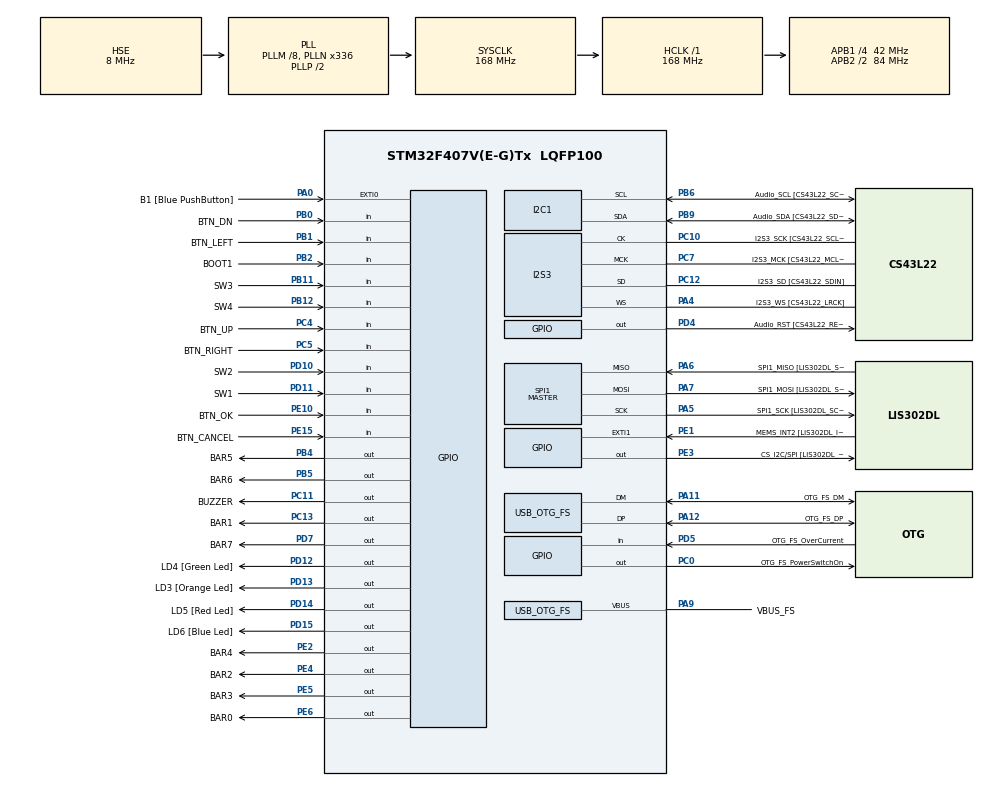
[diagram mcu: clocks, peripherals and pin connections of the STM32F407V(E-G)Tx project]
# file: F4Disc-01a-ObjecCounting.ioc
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I2S3.AudioFreq-Half_Duplex_Master=I2S_AUDIOFREQ_96K
I2S3.ErrorAudioFreq=-2.34 %
I2S3.ErrorAudioFreq-Half_Duplex_Master=0.8 %
I2S3.FullDuplexMode=I2S_FULLDUPLEXMODE_DISABLE
I2S3.Instance=SPI$Index
I2S3.RealAudioFreq=93.75 KHz
I2S3.RealAudioFreq-Half_Duplex_Master=96.774 KHz
I2S3.VirtualMode=I2S_MODE_MASTER
Mcu.Family=STM32F4
Mcu.Name=STM32F407V(E-G)Tx
Mcu.Package=LQFP100
NVIC.OTG_FS_IRQn=true\:0\:0\:false\:false\:true\:true\:true\:true
NVIC.PriorityGroup=NVIC_PRIORITYGROUP_0
PA0-WKUP.GPIO_Label=B1 [Blue PushButton]
PA0-WKUP.GPIO_ModeDefaultEXTI=GPIO_MODE_EVT_RISING
PA0-WKUP.GPIO_PuPd=GPIO_NOPULL
PA0-WKUP.Signal=GPXTI0
PA10.GPIO_Label=OTG_FS_ID
PA10.GPIO_Mode=GPIO_MODE_AF_PP
PA10.GPIO_PuPd=GPIO_NOPULL
PA10.GPIO_Speed=GPIO_SPEED_FREQ_LOW
PA10.Signal=USB_OTG_FS_ID
PA11.GPIO_Label=OTG_FS_DM
PA11.GPIO_Mode=GPIO_MODE_AF_PP
PA11.GPIO_PuPd=GPIO_NOPULL
PA11.GPIO_Speed=GPIO_SPEED_FREQ_LOW
PA11.Mode=Device_Only
PA11.Signal=USB_OTG_FS_DM
PA12.GPIO_Label=OTG_FS_DP
PA12.GPIO_Mode=GPIO_MODE_AF_PP
PA12.GPIO_PuPd=GPIO_NOPULL
PA12.GPIO_Speed=GPIO_SPEED_FREQ_LOW
PA12.Mode=Device_Only
PA12.Signal=USB_OTG_FS_DP
PA13.GPIO_Label=SWDIO
PA13.Mode=Serial_Wire
PA13.Signal=SYS_JTMS-SWDIO
PA14.GPIO_Label=SWCLK
PA14.Mode=Serial_Wire
PA14.Signal=SYS_JTCK-SWCLK
PA4.GPIO_Label=I2S3_WS [CS43L22_LRCK]
PA4.GPIO_Mode=GPIO_MODE_AF_PP
PA4.GPIO_PuPd=GPIO_NOPULL
PA4.GPIO_Speed=GPIO_SPEED_FREQ_LOW
PA4.Mode=Half_Duplex_Master
PA4.Signal=I2S3_WS
PA5.GPIO_Label=SPI1_SCK [LIS302DL_SCL/SPC]
PA5.GPIO_Mode=GPIO_MODE_AF_PP
PA5.GPIO_PuPd=GPIO_NOPULL
PA5.GPIO_Speed=GPIO_SPEED_FREQ_LOW
PA5.Mode=Full_Duplex_Master
PA5.Signal=SPI1_SCK
PA6.GPIO_Label=SPI1_MISO [LIS302DL_SDO]
PA6.GPIO_Mode=GPIO_MODE_AF_PP
PA6.GPIO_PuPd=GPIO_NOPULL
PA6.GPIO_Speed=GPIO_SPEED_FREQ_LOW
PA6.Mode=Full_Duplex_Master
PA6.Signal=SPI1_MISO
PA7.GPIO_Label=SPI1_MOSI [LIS302DL_SDA/SDI/SDO]
PA7.GPIO_Mode=GPIO_MODE_AF_PP
PA7.GPIO_PuPd=GPIO_NOPULL
PA7.GPIO_Speed=GPIO_SPEED_FREQ_LOW
PA7.Mode=Full_Duplex_Master
PA7.Signal=SPI1_MOSI
PA9.GPIO_Label=VBUS_FS
PA9.GPIO_Mode=GPIO_MODE_INPUT
PA9.GPIO_PuPd=GPIO_NOPULL
PA9.Mode=Activate_VBUS
PA9.Signal=USB_OTG_FS_VBUS
PB0.GPIO_Label=BTN_DN
PB0.GPIO_PuPd=GPIO_PULLUP
PB0.Signal=GPIO_Input
PB1.GPIO_Label=BTN_LEFT
PB1.GPIO_PuPd=GPIO_PULLUP
PB1.Signal=GPIO_Input
PB10.GPIO_Label=CLK_IN [MP45DT02_CLK]
PB10.GPIO_Mode=GPIO_MODE_AF_PP
PB10.GPIO_PuPd=GPIO_NOPULL
PB10.GPIO_Speed=GPIO_SPEED_FREQ_LOW
PB10.Signal=I2S2_CK
PB11.GPIO_Label=SW3
PB11.GPIO_PuPd=GPIO_PULLUP
PB11.Signal=GPIO_Input
PB12.GPIO_Label=SW4
PB12.GPIO_PuPd=GPIO_PULLUP
PB12.Signal=GPIO_Input
PB2.GPIO_Label=BOOT1
PB2.GPIO_Mode=GPIO_MODE_INPUT
PB2.GPIO_PuPd=GPIO_NOPULL
PB2.Signal=GPIO_Input
PB3.GPIO_Label=SWO
PB3.Signal=SYS_JTDO-SWO
PB4.GPIO_Label=BAR5
PB4.Signal=GPIO_Output
PB5.GPIO_Label=BAR6
PB5.Signal=GPIO_Output
PB6.GPIO_Label=Audio_SCL [CS43L22_SCL]
PB6.GPIO_Mode=GPIO_MODE_AF_OD
PB6.GPIO_Pu=GPIO_PULLUP
PB6.GPIO_PuPd=GPIO_NOPULL
PB6.GPIO_Speed=GPIO_SPEED_FREQ_LOW
PB6.Mode=I2C
PB6.Signal=I2C1_SCL
PB9.GPIO_Label=Audio_SDA [CS43L22_SDA]
PB9.GPIO_Mode=GPIO_MODE_AF_OD
PB9.GPIO_Pu=GPIO_PULLUP
PB9.GPIO_PuPd=GPIO_NOPULL
PB9.GPIO_Speed=GPIO_SPEED_FREQ_LOW
PB9.Mode=I2C
PB9.Signal=I2C1_SDA
PC0.GPIO_Label=OTG_FS_PowerSwitchOn
PC0.GPIO_PuPd=GPIO_NOPULL
PC0.GPIO_Speed=GPIO_SPEED_FREQ_LOW
PC0.PinState=GPIO_PIN_SET
PC0.Signal=GPIO_Output
PC10.GPIO_Label=I2S3_SCK [CS43L22_SCLK]
PC10.GPIO_Mode=GPIO_MODE_AF_PP
PC10.GPIO_PuPd=GPIO_NOPULL
PC10.GPIO_Speed=GPIO_SPEED_FREQ_LOW
PC10.Mode=Half_Duplex_Master
PC10.Signal=I2S3_CK
PC11.GPIO_Label=BUZZER
PC11.Signal=GPIO_Output
PC12.GPIO_Label=I2S3_SD [CS43L22_SDIN]
PC12.GPIO_Mode=GPIO_MODE_AF_PP
PC12.GPIO_PuPd=GPIO_NOPULL
PC12.GPIO_Speed=GPIO_SPEED_FREQ_LOW
PC12.Mode=Half_Duplex_Master
PC12.Signal=I2S3_SD
PC13-ANTI_TAMP.GPIO_Label=BAR1
PC13-ANTI_TAMP.Signal=GPIO_Output
PC14-OSC32_IN.GPIO_Label=PC14-OSC32_IN
PC14-OSC32_IN.Mode=LSE-External-Oscillator
PC14-OSC32_IN.Signal=RCC_OSC32_IN
PC15-OSC32_OUT.GPIO_Label=PC15-OSC32_OUT
PC15-OSC32_OUT.Mode=LSE-External-Oscillator
PC15-OSC32_OUT.Signal=RCC_OSC32_OUT
PC3.GPIO_Label=PDM_OUT [MP45DT02_DOUT]
PC3.GPIO_Mode=GPIO_MODE_AF_PP
PC3.GPIO_PuPd=GPIO_NOPULL
PC3.GPIO_Speed=GPIO_SPEED_FREQ_LOW
PC3.Signal=I2S2_SD
PC4.GPIO_Label=BTN_UP
PC4.GPIO_PuPd=GPIO_PULLUP
PC4.Signal=GPIO_Input
PC5.GPIO_Label=BTN_RIGHT
PC5.GPIO_PuPd=GPIO_PULLUP
PC5.Signal=GPIO_Input
PC7.GPIO_Label=I2S3_MCK [CS43L22_MCLK]
PC7.GPIO_Mode=GPIO_MODE_AF_PP
PC7.GPIO_PuPd=GPIO_NOPULL
PC7.GPIO_Speed=GPIO_SPEED_FREQ_LOW
PC7.Mode=Master_Clock_Activated
PC7.Signal=I2S3_MCK
PD10.GPIO_Label=SW2
PD10.GPIO_PuPd=GPIO_PULLUP
PD10.Signal=GPIO_Input
PD11.GPIO_Label=SW1
PD11.GPIO_PuPd=GPIO_PULLUP
PD11.Signal=GPIO_Input
PD12.GPIO_Label=LD4 [Green Led]
PD12.GPIO_PuPd=GPIO_NOPULL
PD12.GPIO_Speed=GPIO_SPEED_FREQ_LOW
PD12.Signal=GPIO_Output
PD13.GPIO_Label=LD3 [Orange Led]
PD13.GPIO_PuPd=GPIO_NOPULL
PD13.GPIO_Speed=GPIO_SPEED_FREQ_LOW
PD13.Signal=GPIO_Output
PD14.GPIO_Label=LD5 [Red Led]
PD14.GPIO_PuPd=GPIO_NOPULL
PD14.GPIO_Speed=GPIO_SPEED_FREQ_LOW
PD14.Signal=GPIO_Output
PD15.GPIO_Label=LD6 [Blue Led]
PD15.GPIO_PuPd=GPIO_NOPULL
PD15.GPIO_Speed=GPIO_SPEED_FREQ_LOW
PD15.Signal=GPIO_Output
PD4.GPIO_Label=Audio_RST [CS43L22_RESET]
PD4.GPIO_PuPd=GPIO_NOPULL
PD4.GPIO_Speed=GPIO_SPEED_FREQ_LOW
PD4.Signal=GPIO_Output
PD5.GPIO_Label=OTG_FS_OverCurrent
PD5.GPIO_Mode=GPIO_MODE_INPUT
PD5.GPIO_PuPd=GPIO_NOPULL
PD5.Signal=GPIO_Input
PD7.GPIO_Label=BAR7
PD7.Signal=GPIO_Output
PE1.GPIO_Label=MEMS_INT2 [LIS302DL_INT2]
PE1.GPIO_ModeDefaultEXTI=GPIO_MODE_EVT_RISING
PE1.GPIO_PuPd=GPIO_NOPULL
PE1.Signal=GPXTI1
PE10.GPIO_Label=BTN_OK
PE10.GPIO_PuPd=GPIO_PULLUP
PE10.Signal=GPIO_Input
PE15.GPIO_Label=BTN_CANCEL
PE15.GPIO_PuPd=GPIO_PULLUP
PE15.Signal=GPIO_Input
PE2.GPIO_Label=BAR4
PE2.Signal=GPIO_Output
PE3.GPIO_Label=CS_I2C/SPI [LIS302DL_CS_I2C/SPI]
PE3.GPIO_PuPd=GPIO_NOPULL
PE3.GPIO_Speed=GPIO_SPEED_FREQ_LOW
PE3.Signal=GPIO_Output
PE4.GPIO_Label=BAR2
PE4.Signal=GPIO_Output
PE5.GPIO_Label=BAR3
PE5.Signal=GPIO_Output
PE6.GPIO_Label=BAR0
PE6.Signal=GPIO_Output
PH0-OSC_IN.GPIO_Label=PH0-OSC_IN
PH0-OSC_IN.Mode=HSE-External-Oscillator
PH0-OSC_IN.Signal=RCC_OSC_IN
PH1-OSC_OUT.GPIO_Label=PH1-OSC_OUT
PH1-OSC_OUT.Mode=HSE-External-Oscillator
PH1-OSC_OUT.Signal=RCC_OSC_OUT
ProjectManager.HeapSize=0x200
ProjectManager.StackSize=0x400
ProjectManager.TargetToolchain=STM32CubeIDE
RCC.48MHZClocksFreq_Value=48000000
RCC.AHBFreq_Value=168000000
RCC.APB1CLKDivider=RCC_HCLK_DIV4
RCC.APB1Freq_Value=42000000
RCC.APB1TimFreq_Value=84000000
RCC.APB2CLKDivider=RCC_HCLK_DIV2
RCC.APB2Freq_Value=84000000
RCC.APB2TimFreq_Value=168000000
RCC.CortexFreq_Value=168000000
RCC.HCLKFreq_Value=168000000
RCC.HSE_VALUE=8000000
RCC.HSI_VALUE=16000000
RCC.PLLM=8
RCC.PLLN=336
RCC.PLLQ=7
RCC.SYSCLKFreq_VALUE=168000000
RCC.SYSCLKSource=RCC_SYSCLKSOURCE_PLLCLK
RCC.VCOOutputFreq_Value=336000000
SPI1.BaudRatePrescaler-Full_Duplex_Master=SPI_BAUDRATEPRESCALER_2
SPI1.CalculateBaudRate-Full_Duplex_Master=42.0 MBits/s
SPI1.Direction=SPI_DIRECTION_2LINES
SPI1.Mode=SPI_MODE_MASTER
SPI1.Mode-Full_Duplex_Master=SPI_MODE_MASTER
SPI1.VirtualType=VM_MASTER
USB_DEVICE.CLASS_NAME_FS=CDC
USB_DEVICE.VirtualMode-CDC_FS=Cdc
USB_DEVICE.VirtualModeFS=Cdc_FS
USB_OTG_FS.VirtualMode=Device_Only
VP_USB_DEVICE_VS_USB_DEVICE_CDC_FS.Mode=CDC_FS
board=STM32F407G-DISC1

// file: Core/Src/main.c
/* USER CODE BEGIN Header */
/**
 ******************************************************************************
 * @file           : main.c
 * @brief          : Main program body
 ******************************************************************************
 * @attention
 *
 * Copyright (c) 2023 STMicroelectronics.
 * All rights reserved.
 *
 * This software is licensed under terms that can be found in the LICENSE file
 * in the root directory of this software component.
 * If no LICENSE file comes with this software, it is provided AS-IS.
 *
 ******************************************************************************
 */
/* USER CODE END Header */
#include "main.h"
#include "usb_device.h"

/* USER CODE BEGIN Includes */
#include <stdio.h>
/* USER CODE END Includes */

I2C_HandleTypeDef hi2c1;

I2S_HandleTypeDef hi2s3;

SPI_HandleTypeDef hspi1;

/* USER CODE BEGIN PV */
uint32_t db_ms=20;
uint16_t count=0;
extern USBD_HandleTypeDef hUsbDeviceFS;  // deklarasi handle dari usb_device.c
static inline uint8_t usb_is_configured(void){
	return (hUsbDeviceFS.dev_state == USBD_STATE_CONFIGURED);
}
/* USER CODE END PV */

void SystemClock_Config(void);
static void MX_GPIO_Init(void);
static void MX_I2C1_Init(void);
static void MX_I2S3_Init(void);
static void MX_SPI1_Init(void);
/* USER CODE BEGIN PFP */
extern uint8_t CDC_Transmit_FS(uint8_t* Buf, uint16_t Len);

int _write(int file, char *ptr, int len) {
	CDC_Transmit_FS((uint8_t*) ptr, len); return len;
}

void checkBoard(void);
/* USER CODE END PFP */

/* USER CODE BEGIN 0 */
void checkBoard(void) {
	printf("Cek BarLED, buzzer, USER LED \n\r");
	HAL_Delay(300);
	for (uint8_t cnt=0;cnt<8;cnt++){

		HAL_GPIO_TogglePin(BAR0_GPIO_Port, BAR0_Pin);
		HAL_GPIO_TogglePin(BAR1_GPIO_Port, BAR1_Pin);
		HAL_GPIO_TogglePin(BAR2_GPIO_Port, BAR2_Pin);
		HAL_GPIO_TogglePin(BAR3_GPIO_Port, BAR3_Pin);
		HAL_GPIO_TogglePin(BAR4_GPIO_Port, BAR4_Pin);
		HAL_GPIO_TogglePin(BAR5_GPIO_Port, BAR5_Pin);
		HAL_GPIO_TogglePin(BAR6_GPIO_Port, BAR6_Pin);
		HAL_GPIO_TogglePin(BAR7_GPIO_Port, BAR7_Pin);

		HAL_GPIO_TogglePin(BUZZER_GPIO_Port, BUZZER_Pin);
		HAL_GPIO_TogglePin(LD3_GPIO_Port, LD3_Pin);
		HAL_GPIO_TogglePin(LD4_GPIO_Port, LD4_Pin);
		HAL_GPIO_TogglePin(LD5_GPIO_Port, LD5_Pin);
		HAL_GPIO_TogglePin(LD6_GPIO_Port, LD6_Pin);
		printf("count: %d \n\r",cnt);
		HAL_Delay(100);
	}

}
/* USER CODE END 0 */

int main(void)
{

	/* MCU Configuration--------------------------------------------------------*/

	/* Reset of all peripherals, Initializes the Flash interface and the Systick. */
	HAL_Init();

	/* Configure the system clock */
	SystemClock_Config();

	/* Initialize all configured peripherals */
	MX_GPIO_Init();
	MX_I2C1_Init();
	MX_I2S3_Init();
	MX_SPI1_Init();
	MX_USB_DEVICE_Init();
	/* USER CODE BEGIN 2 */
	uint32_t t0 = HAL_GetTick();
	while (!usb_is_configured() && (HAL_GetTick() - t0) < 2000) {
		HAL_Delay(10);
	}
	HAL_Delay(700); //fix auto connect serial app
	checkBoard();
	/* USER CODE END 2 */

	/* Infinite loop */
	while (1)
	{

		/* USER CODE BEGIN 3 */
		uint32_t db_ms=20;
        // check if object detected
		if(HAL_GPIO_ReadPin(BTN_LEFT_GPIO_Port,BTN_LEFT_Pin)== GPIO_PIN_RESET) {
			HAL_Delay(db_ms);
			if(HAL_GPIO_ReadPin(BTN_LEFT_GPIO_Port,BTN_LEFT_Pin)== GPIO_PIN_RESET) {
				while(HAL_GPIO_ReadPin(BTN_LEFT_GPIO_Port,BTN_LEFT_Pin)== GPIO_PIN_RESET);
				// tunggu release stabil
				HAL_Delay(db_ms);
				if(HAL_GPIO_ReadPin(BTN_LEFT_GPIO_Port,BTN_LEFT_Pin)== GPIO_PIN_SET) {
					count++; // valid press
					printf("nilai counter: %d \n\r",count);
				}
			}
		}
		//counter show
		HAL_GPIO_WritePin(BAR0_GPIO_Port,BAR0_Pin,count & (1<<0));
		HAL_GPIO_WritePin(BAR1_GPIO_Port,BAR1_Pin,count & (1<<1));
		HAL_GPIO_WritePin(BAR2_GPIO_Port,BAR2_Pin,count & (1<<2));
		HAL_GPIO_WritePin(BAR3_GPIO_Port,BAR3_Pin,count & (1<<3));
		HAL_GPIO_WritePin(BAR4_GPIO_Port,BAR4_Pin,count & (1<<4));
		HAL_GPIO_WritePin(BAR5_GPIO_Port,BAR5_Pin,count & (1<<5));
		HAL_GPIO_WritePin(BAR6_GPIO_Port,BAR6_Pin,count & (1<<6));
		HAL_GPIO_WritePin(BAR7_GPIO_Port,BAR7_Pin,count & (1<<7));
	}
	/* USER CODE END 3 */
}

void SystemClock_Config(void)
{
	RCC_OscInitTypeDef RCC_OscInitStruct = {0};
	RCC_ClkInitTypeDef RCC_ClkInitStruct = {0};

	/** Configure the main internal regulator output voltage
	 */
	__HAL_RCC_PWR_CLK_ENABLE();
	__HAL_PWR_VOLTAGESCALING_CONFIG(PWR_REGULATOR_VOLTAGE_SCALE1);

	/** Initializes the RCC Oscillators according to the specified parameters
	 * in the RCC_OscInitTypeDef structure.
	 */
	RCC_OscInitStruct.OscillatorType = RCC_OSCILLATORTYPE_HSE;
	RCC_OscInitStruct.HSEState = RCC_HSE_ON;
	RCC_OscInitStruct.PLL.PLLState = RCC_PLL_ON;
	RCC_OscInitStruct.PLL.PLLSource = RCC_PLLSOURCE_HSE;
	RCC_OscInitStruct.PLL.PLLM = 8;
	RCC_OscInitStruct.PLL.PLLN = 336;
	RCC_OscInitStruct.PLL.PLLP = RCC_PLLP_DIV2;
	RCC_OscInitStruct.PLL.PLLQ = 7;
	if (HAL_RCC_OscConfig(&RCC_OscInitStruct) != HAL_OK)
	{
		Error_Handler();
	}

	/** Initializes the CPU, AHB and APB buses clocks
	 */
	RCC_ClkInitStruct.ClockType = RCC_CLOCKTYPE_HCLK|RCC_CLOCKTYPE_SYSCLK
			|RCC_CLOCKTYPE_PCLK1|RCC_CLOCKTYPE_PCLK2;
	RCC_ClkInitStruct.SYSCLKSource = RCC_SYSCLKSOURCE_PLLCLK;
	RCC_ClkInitStruct.AHBCLKDivider = RCC_SYSCLK_DIV1;
	RCC_ClkInitStruct.APB1CLKDivider = RCC_HCLK_DIV4;
	RCC_ClkInitStruct.APB2CLKDivider = RCC_HCLK_DIV2;

	if (HAL_RCC_ClockConfig(&RCC_ClkInitStruct, FLASH_LATENCY_5) != HAL_OK)
	{
		Error_Handler();
	}
}

static void MX_I2C1_Init(void)
{

	hi2c1.Instance = I2C1;
	hi2c1.Init.ClockSpeed = 100000;
	hi2c1.Init.DutyCycle = I2C_DUTYCYCLE_2;
	hi2c1.Init.OwnAddress1 = 0;
	hi2c1.Init.AddressingMode = I2C_ADDRESSINGMODE_7BIT;
	hi2c1.Init.DualAddressMode = I2C_DUALADDRESS_DISABLE;
	hi2c1.Init.OwnAddress2 = 0;
	hi2c1.Init.GeneralCallMode = I2C_GENERALCALL_DISABLE;
	hi2c1.Init.NoStretchMode = I2C_NOSTRETCH_DISABLE;
	if (HAL_I2C_Init(&hi2c1) != HAL_OK)
	{
		Error_Handler();
	}

}

static void MX_I2S3_Init(void)
{

	hi2s3.Instance = SPI3;
	hi2s3.Init.Mode = I2S_MODE_MASTER_TX;
	hi2s3.Init.Standard = I2S_STANDARD_PHILIPS;
	hi2s3.Init.DataFormat = I2S_DATAFORMAT_16B;
	hi2s3.Init.MCLKOutput = I2S_MCLKOUTPUT_ENABLE;
	hi2s3.Init.AudioFreq = I2S_AUDIOFREQ_96K;
	hi2s3.Init.CPOL = I2S_CPOL_LOW;
	hi2s3.Init.ClockSource = I2S_CLOCK_PLL;
	hi2s3.Init.FullDuplexMode = I2S_FULLDUPLEXMODE_DISABLE;
	if (HAL_I2S_Init(&hi2s3) != HAL_OK)
	{
		Error_Handler();
	}

}

static void MX_SPI1_Init(void)
{

	/* SPI1 parameter configuration*/
	hspi1.Instance = SPI1;
	hspi1.Init.Mode = SPI_MODE_MASTER;
	hspi1.Init.Direction = SPI_DIRECTION_2LINES;
	hspi1.Init.DataSize = SPI_DATASIZE_8BIT;
	hspi1.Init.CLKPolarity = SPI_POLARITY_LOW;
	hspi1.Init.CLKPhase = SPI_PHASE_1EDGE;
	hspi1.Init.NSS = SPI_NSS_SOFT;
	hspi1.Init.BaudRatePrescaler = SPI_BAUDRATEPRESCALER_2;
	hspi1.Init.FirstBit = SPI_FIRSTBIT_MSB;
	hspi1.Init.TIMode = SPI_TIMODE_DISABLE;
	hspi1.Init.CRCCalculation = SPI_CRCCALCULATION_DISABLE;
	hspi1.Init.CRCPolynomial = 10;
	if (HAL_SPI_Init(&hspi1) != HAL_OK)
	{
		Error_Handler();
	}

}

static void MX_GPIO_Init(void)
{
	GPIO_InitTypeDef GPIO_InitStruct = {0};

	/* GPIO Ports Clock Enable */
	__HAL_RCC_GPIOE_CLK_ENABLE();
	__HAL_RCC_GPIOC_CLK_ENABLE();
	__HAL_RCC_GPIOH_CLK_ENABLE();
	__HAL_RCC_GPIOA_CLK_ENABLE();
	__HAL_RCC_GPIOB_CLK_ENABLE();
	__HAL_RCC_GPIOD_CLK_ENABLE();

	/*Configure GPIO pin Output Level */
	HAL_GPIO_WritePin(GPIOE, BAR4_Pin|CS_I2C_SPI_Pin|BAR2_Pin|BAR3_Pin
			|BAR0_Pin, GPIO_PIN_RESET);

	/*Configure GPIO pin Output Level */
	HAL_GPIO_WritePin(GPIOC, BAR1_Pin|BUZZER_Pin, GPIO_PIN_RESET);

	/*Configure GPIO pin Output Level */
	HAL_GPIO_WritePin(OTG_FS_PowerSwitchOn_GPIO_Port, OTG_FS_PowerSwitchOn_Pin, GPIO_PIN_SET);

	/*Configure GPIO pin Output Level */
	HAL_GPIO_WritePin(GPIOD, LD4_Pin|LD3_Pin|LD5_Pin|LD6_Pin
			|Audio_RST_Pin|BAR7_Pin, GPIO_PIN_RESET);

	/*Configure GPIO pin Output Level */
	HAL_GPIO_WritePin(GPIOB, BAR5_Pin|BAR6_Pin, GPIO_PIN_RESET);

	/*Configure GPIO pins : BAR4_Pin CS_I2C_SPI_Pin BAR2_Pin BAR3_Pin
                           BAR0_Pin */
	GPIO_InitStruct.Pin = BAR4_Pin|CS_I2C_SPI_Pin|BAR2_Pin|BAR3_Pin
			|BAR0_Pin;
	GPIO_InitStruct.Mode = GPIO_MODE_OUTPUT_PP;
	GPIO_InitStruct.Pull = GPIO_NOPULL;
	GPIO_InitStruct.Speed = GPIO_SPEED_FREQ_LOW;
	HAL_GPIO_Init(GPIOE, &GPIO_InitStruct);

	/*Configure GPIO pins : BAR1_Pin OTG_FS_PowerSwitchOn_Pin BUZZER_Pin */
	GPIO_InitStruct.Pin = BAR1_Pin|OTG_FS_PowerSwitchOn_Pin|BUZZER_Pin;
	GPIO_InitStruct.Mode = GPIO_MODE_OUTPUT_PP;
	GPIO_InitStruct.Pull = GPIO_NOPULL;
	GPIO_InitStruct.Speed = GPIO_SPEED_FREQ_LOW;
	HAL_GPIO_Init(GPIOC, &GPIO_InitStruct);

	/*Configure GPIO pin : PDM_OUT_Pin */
	GPIO_InitStruct.Pin = PDM_OUT_Pin;
	GPIO_InitStruct.Mode = GPIO_MODE_AF_PP;
	GPIO_InitStruct.Pull = GPIO_NOPULL;
	GPIO_InitStruct.Speed = GPIO_SPEED_FREQ_LOW;
	GPIO_InitStruct.Alternate = GPIO_AF5_SPI2;
	HAL_GPIO_Init(PDM_OUT_GPIO_Port, &GPIO_InitStruct);

	/*Configure GPIO pin : B1_Pin */
	GPIO_InitStruct.Pin = B1_Pin;
	GPIO_InitStruct.Mode = GPIO_MODE_EVT_RISING;
	GPIO_InitStruct.Pull = GPIO_NOPULL;
	HAL_GPIO_Init(B1_GPIO_Port, &GPIO_InitStruct);

	/*Configure GPIO pins : BTN_UP_Pin BTN_RIGHT_Pin */
	GPIO_InitStruct.Pin = BTN_UP_Pin|BTN_RIGHT_Pin;
	GPIO_InitStruct.Mode = GPIO_MODE_INPUT;
	GPIO_InitStruct.Pull = GPIO_PULLUP;
	HAL_GPIO_Init(GPIOC, &GPIO_InitStruct);

	/*Configure GPIO pins : BTN_DN_Pin BTN_LEFT_Pin SW3_Pin SW4_Pin */
	GPIO_InitStruct.Pin = BTN_DN_Pin|BTN_LEFT_Pin|SW3_Pin|SW4_Pin;
	GPIO_InitStruct.Mode = GPIO_MODE_INPUT;
	GPIO_InitStruct.Pull = GPIO_PULLUP;
	HAL_GPIO_Init(GPIOB, &GPIO_InitStruct);

	/*Configure GPIO pin : BOOT1_Pin */
	GPIO_InitStruct.Pin = BOOT1_Pin;
	GPIO_InitStruct.Mode = GPIO_MODE_INPUT;
	GPIO_InitStruct.Pull = GPIO_NOPULL;
	HAL_GPIO_Init(BOOT1_GPIO_Port, &GPIO_InitStruct);

	/*Configure GPIO pins : BTN_OK_Pin BTN_CANCEL_Pin */
	GPIO_InitStruct.Pin = BTN_OK_Pin|BTN_CANCEL_Pin;
	GPIO_InitStruct.Mode = GPIO_MODE_INPUT;
	GPIO_InitStruct.Pull = GPIO_PULLUP;
	HAL_GPIO_Init(GPIOE, &GPIO_InitStruct);

	/*Configure GPIO pin : CLK_IN_Pin */
	GPIO_InitStruct.Pin = CLK_IN_Pin;
	GPIO_InitStruct.Mode = GPIO_MODE_AF_PP;
	GPIO_InitStruct.Pull = GPIO_NOPULL;
	GPIO_InitStruct.Speed = GPIO_SPEED_FREQ_LOW;
	GPIO_InitStruct.Alternate = GPIO_AF5_SPI2;
	HAL_GPIO_Init(CLK_IN_GPIO_Port, &GPIO_InitStruct);

	/*Configure GPIO pins : SW2_Pin SW1_Pin */
	GPIO_InitStruct.Pin = SW2_Pin|SW1_Pin;
	GPIO_InitStruct.Mode = GPIO_MODE_INPUT;
	GPIO_InitStruct.Pull = GPIO_PULLUP;
	HAL_GPIO_Init(GPIOD, &GPIO_InitStruct);

	/*Configure GPIO pins : LD4_Pin LD3_Pin LD5_Pin LD6_Pin
                           Audio_RST_Pin BAR7_Pin */
	GPIO_InitStruct.Pin = LD4_Pin|LD3_Pin|LD5_Pin|LD6_Pin
			|Audio_RST_Pin|BAR7_Pin;
	GPIO_InitStruct.Mode = GPIO_MODE_OUTPUT_PP;
	GPIO_InitStruct.Pull = GPIO_NOPULL;
	GPIO_InitStruct.Speed = GPIO_SPEED_FREQ_LOW;
	HAL_GPIO_Init(GPIOD, &GPIO_InitStruct);

	/*Configure GPIO pin : OTG_FS_OverCurrent_Pin */
	GPIO_InitStruct.Pin = OTG_FS_OverCurrent_Pin;
	GPIO_InitStruct.Mode = GPIO_MODE_INPUT;
	GPIO_InitStruct.Pull = GPIO_NOPULL;
	HAL_GPIO_Init(OTG_FS_OverCurrent_GPIO_Port, &GPIO_InitStruct);

	/*Configure GPIO pins : BAR5_Pin BAR6_Pin */
	GPIO_InitStruct.Pin = BAR5_Pin|BAR6_Pin;
	GPIO_InitStruct.Mode = GPIO_MODE_OUTPUT_PP;
	GPIO_InitStruct.Pull = GPIO_NOPULL;
	GPIO_InitStruct.Speed = GPIO_SPEED_FREQ_LOW;
	HAL_GPIO_Init(GPIOB, &GPIO_InitStruct);

	/*Configure GPIO pin : MEMS_INT2_Pin */
	GPIO_InitStruct.Pin = MEMS_INT2_Pin;
	GPIO_InitStruct.Mode = GPIO_MODE_EVT_RISING;
	GPIO_InitStruct.Pull = GPIO_NOPULL;
	HAL_GPIO_Init(MEMS_INT2_GPIO_Port, &GPIO_InitStruct);

}

void Error_Handler(void)
{
	__disable_irq();
	while (1)
	{
	}
}
